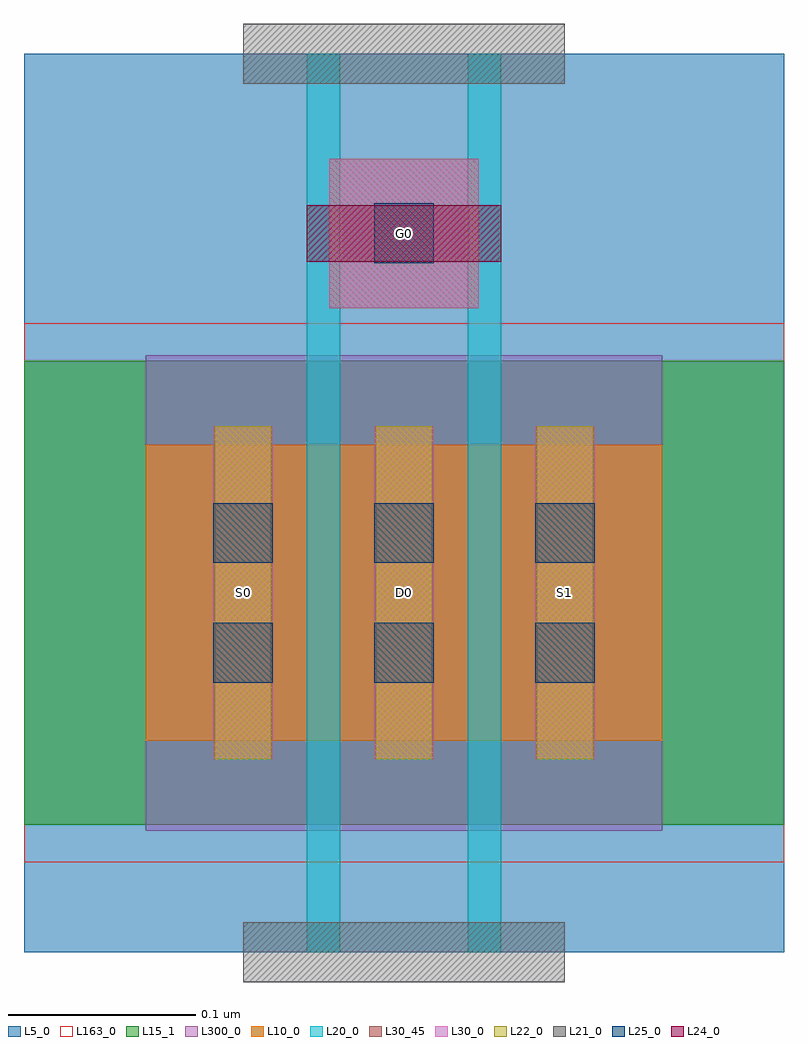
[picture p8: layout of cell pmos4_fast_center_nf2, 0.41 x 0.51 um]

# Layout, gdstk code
import gdstk
lib = gdstk.Library(unit=1e-6, precision=5e-10)
def R(c, l, rs):  # rectangles x0, y0, x1, y1
    for r in rs: c.add(gdstk.rectangle(r[:2], r[2:], *l))
def A(c, l, x, y, w, h, nx, ny, dx, dy):  # array of equal rectangles
    R(c, l, [(x+i*dx, y+j*dy, x+i*dx+w, y+j*dy+h) for i in range(nx) for j in range(ny)])
L5_0 = (5, 0)
L10_0 = (10, 0)
L15_1 = (15, 1)
L20_0 = (20, 0)
L21_0 = (21, 0)
L22_0 = (22, 0)
L24_0 = (24, 0)
L25_0 = (25, 0)
L30_0 = (30, 0)
L30_45 = (30, 45)
L163_0 = (163, 0)
L300_0 = (300, 0)

p1lvt_cdns_548863453660 = lib.new_cell('p1lvt_CDNS_548863453660')
R(p1lvt_cdns_548863453660, L5_0, [(-0.151,-0.065,0.169,0.223)])
R(p1lvt_cdns_548863453660, L10_0, [(-0.086,0,0,0.158), (0,0,0.018,0.158), (0.018,0,0.104,0.158)])
R(p1lvt_cdns_548863453660, L15_1, [(-0.151,-0.045,0.169,0.203)])
R(p1lvt_cdns_548863453660, L20_0, [(0,-0.048,0.018,0), (0,0,0.018,0.158), (0,0.158,0.018,0.206)])
R(p1lvt_cdns_548863453660, L22_0, [(-0.049,-0.01,-0.019,0.168), (0.037,-0.01,0.067,0.168)])
R(p1lvt_cdns_548863453660, L163_0, [(-0.151,-0.065,0.169,0.223)])
R(p1lvt_cdns_548863453660, L300_0, [(-0.086,-0.048,0.104,0.206)])
p1lvt_cdns_548863453660.add(gdstk.Label('0.158/0.018', (0.009,0.0365), layer=63, texttype=0))
p1lvt_cdns_548863453660.add(gdstk.Label('[@instanceName]', (0.009,0.066), layer=63, texttype=0))

c__pmos4_fast_base_nf1 = lib.new_cell('_pmos4_fast_base_nf1')
R(c__pmos4_fast_base_nf1, L20_0, [(0.034,0,0.052,0.48)])
R(c__pmos4_fast_base_nf1, L21_0, [(0,-0.016,0.086,0.016), (0,0.464,0.086,0.496)])
c__pmos4_fast_base_nf1.add(gdstk.Reference(p1lvt_cdns_548863453660, (0.034,0.113)))

c__sd_base = lib.new_cell('_sd_base')
R(c__sd_base, L25_0, [(-0.016,0.144,0.016,0.176), (-0.016,0.208,0.016,0.24)])
R(c__sd_base, L30_0, [(-0.016,0.103,0.016,0.281)])

c__gate_base_nf2 = lib.new_cell('_gate_base_nf2')
R(c__gate_base_nf2, L24_0, [(0.034,0.369,0.138,0.399)])
R(c__gate_base_nf2, L25_0, [(0.07,0.368,0.102,0.4)])
R(c__gate_base_nf2, L30_0, [(0.046,0.344,0.126,0.424)])

pmos4_fast_center_nf2 = lib.new_cell('pmos4_fast_center_nf2')
R(pmos4_fast_center_nf2, L5_0, [(-0.117,0,0.289,0.48)])
A(pmos4_fast_center_nf2, L30_45, -0.016, 0.103, 0.032, 0.178, 3, 1, 0.086, 0)
R(pmos4_fast_center_nf2, L30_45, [(0.046,0.344,0.126,0.424)])
pmos4_fast_center_nf2.add(gdstk.Reference(c__pmos4_fast_base_nf1, (0.086,0)))
pmos4_fast_center_nf2.add(gdstk.Reference(c__pmos4_fast_base_nf1, (0,0)))
pmos4_fast_center_nf2.add(gdstk.Reference(c__sd_base, (0.086,0)))
pmos4_fast_center_nf2.add(gdstk.Reference(c__sd_base, (0,0)))
pmos4_fast_center_nf2.add(gdstk.Reference(c__sd_base, (0.172,0)))
pmos4_fast_center_nf2.add(gdstk.Reference(c__gate_base_nf2, (0,0)))
pmos4_fast_center_nf2.add(gdstk.Label('D0', (0.086,0.192), layer=30, texttype=45))
pmos4_fast_center_nf2.add(gdstk.Label('G0', (0.086,0.384), layer=30, texttype=45))
pmos4_fast_center_nf2.add(gdstk.Label('S0', (0,0.192), layer=30, texttype=45))
pmos4_fast_center_nf2.add(gdstk.Label('S1', (0.172,0.192), layer=30, texttype=45))

lib.write_gds('pmos4_fast_center_nf2.gds')
